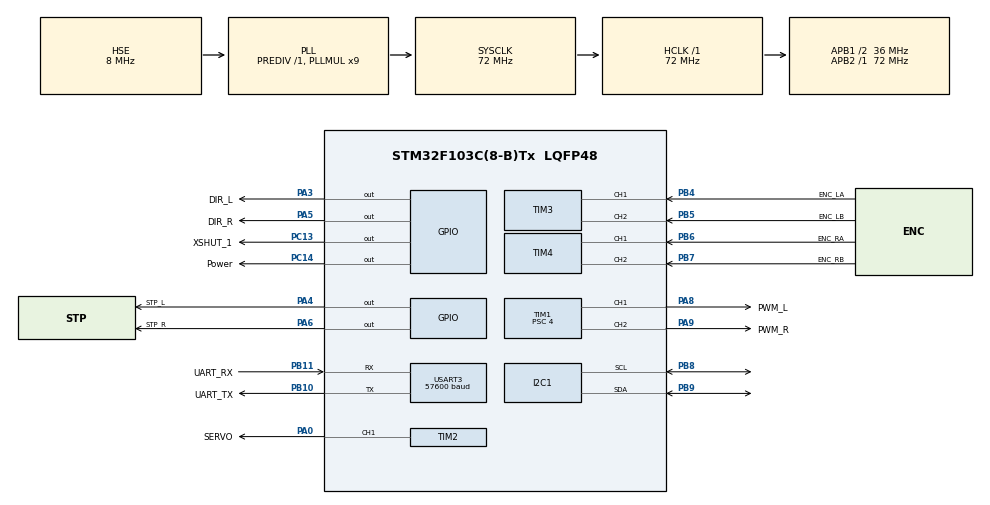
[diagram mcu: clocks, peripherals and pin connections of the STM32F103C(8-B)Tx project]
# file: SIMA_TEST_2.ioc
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Mcu.Family=STM32F1
Mcu.Name=STM32F103C(8-B)Tx
Mcu.Package=LQFP48
NVIC.PriorityGroup=NVIC_PRIORITYGROUP_4
NVIC.USART3_IRQn=true\:0\:0\:false\:false\:true\:true\:true\:true
PA0-WKUP.GPIO_Label=SERVO
PA0-WKUP.Signal=S_TIM2_CH1_ETR
PA13.Mode=Serial_Wire
PA13.Signal=SYS_JTMS-SWDIO
PA14.Mode=Serial_Wire
PA14.Signal=SYS_JTCK-SWCLK
PA3.GPIO_Label=DIR_L
PA3.Signal=GPIO_Output
PA4.GPIO_Label=STP_L
PA4.Signal=GPIO_Output
PA5.GPIO_Label=DIR_R
PA5.Signal=GPIO_Output
PA6.GPIO_Label=STP_R
PA6.Signal=GPIO_Output
PA8.GPIO_Label=PWM_L
PA8.Signal=S_TIM1_CH1
PA9.GPIO_Label=PWM_R
PA9.Signal=S_TIM1_CH2
PB10.GPIO_Label=UART_TX
PB10.Mode=Asynchronous
PB10.Signal=USART3_TX
PB11.GPIO_Label=UART_RX
PB11.Mode=Asynchronous
PB11.Signal=USART3_RX
PB4.GPIO_Label=ENC_LA
PB4.GPIO_PuPd=GPIO_PULLUP
PB4.Signal=S_TIM3_CH1
PB5.GPIO_Label=ENC_LB
PB5.GPIO_PuPd=GPIO_PULLUP
PB5.Signal=S_TIM3_CH2
PB6.GPIO_Label=ENC_RA
PB6.GPIO_PuPd=GPIO_PULLUP
PB6.Signal=S_TIM4_CH1
PB7.GPIO_Label=ENC_RB
PB7.GPIO_PuPd=GPIO_PULLUP
PB7.Signal=S_TIM4_CH2
PB8.Mode=I2C
PB8.Signal=I2C1_SCL
PB9.Mode=I2C
PB9.Signal=I2C1_SDA
PC13-TAMPER-RTC.GPIO_Label=XSHUT_1
PC13-TAMPER-RTC.Signal=GPIO_Output
PC14-OSC32_IN.GPIO_Label=Power
PC14-OSC32_IN.GPIO_PuPd=GPIO_NOPULL
PC14-OSC32_IN.Signal=GPIO_Output
PD0-OSC_IN.Mode=HSE-External-Oscillator
PD0-OSC_IN.Signal=RCC_OSC_IN
PD1-OSC_OUT.Mode=HSE-External-Oscillator
PD1-OSC_OUT.Signal=RCC_OSC_OUT
ProjectManager.HeapSize=0x200
ProjectManager.StackSize=0x400
ProjectManager.TargetToolchain=STM32CubeIDE
RCC.ADCPresc=RCC_ADCPCLK2_DIV6
RCC.AHBFreq_Value=72000000
RCC.APB1CLKDivider=RCC_HCLK_DIV2
RCC.APB1Freq_Value=36000000
RCC.APB1TimFreq_Value=72000000
RCC.APB2Freq_Value=72000000
RCC.APB2TimFreq_Value=72000000
RCC.HCLKFreq_Value=72000000
RCC.PLLMUL=RCC_PLL_MUL9
RCC.PLLSourceVirtual=RCC_PLLSOURCE_HSE
RCC.SYSCLKFreq_VALUE=72000000
RCC.SYSCLKSource=RCC_SYSCLKSOURCE_PLLCLK
RCC.USBFreq_Value=72000000
SH.S_TIM1_CH1.0=TIM1_CH1,PWM Generation1 CH1
SH.S_TIM1_CH2.0=TIM1_CH2,PWM Generation2 CH2
SH.S_TIM2_CH1_ETR.0=TIM2_CH1,PWM Generation1 CH1
SH.S_TIM3_CH1.0=TIM3_CH1,Encoder_Interface
SH.S_TIM3_CH2.0=TIM3_CH2,Encoder_Interface
SH.S_TIM4_CH1.0=TIM4_CH1,Encoder_Interface
SH.S_TIM4_CH2.0=TIM4_CH2,Encoder_Interface
TIM1.Channel-PWM\ Generation1\ CH1=TIM_CHANNEL_1
TIM1.Channel-PWM\ Generation2\ CH2=TIM_CHANNEL_2
TIM1.Period=16384-1
TIM1.Prescaler=4
TIM2.Channel-PWM\ Generation1\ CH1=TIM_CHANNEL_1
TIM2.Period=1000-1
TIM2.Prescaler=1440-1
USART3.BaudRate=57600
USART3.VirtualMode=VM_ASYNC
VP_TIM1_VS_ClockSourceINT.Mode=Internal
VP_TIM2_VS_ClockSourceINT.Mode=Internal
board=custom

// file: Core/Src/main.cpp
/* USER CODE BEGIN Header */
/**
  ******************************************************************************
  * @file           : main.c
  * @brief          : Main program body
  ******************************************************************************
  * @attention
  *
  * Copyright (c) 2024 STMicroelectronics.
  * All rights reserved.
  *
  * This software is licensed under terms that can be found in the LICENSE file
  * in the root directory of this software component.
  * If no LICENSE file comes with this software, it is provided AS-IS.
  *
  ******************************************************************************
  */
/* USER CODE END Header */
#include "main.h"

/* USER CODE BEGIN Includes */
#include "ArduinoMath.h"
#include "Terminal.h"
#include "SIMAClass.h"
#include "math.h"

/* USER CODE END Includes */

I2C_HandleTypeDef hi2c1;

TIM_HandleTypeDef htim1;
TIM_HandleTypeDef htim2;
TIM_HandleTypeDef htim3;
TIM_HandleTypeDef htim4;

UART_HandleTypeDef huart3;

/* USER CODE BEGIN PV */

SIMA_POSITION SIMA_POS;
SIMA_Class SIMA;
CMD_SET_SPEED target_speed = {0,0,false};
extern uint8_t buf[3];

uint32_t second = 0;

/* USER CODE END PV */

void SystemClock_Config(void);
static void MX_GPIO_Init(void);
static void MX_TIM1_Init(void);
static void MX_TIM3_Init(void);
static void MX_TIM4_Init(void);
static void MX_USART3_UART_Init(void);
static void MX_TIM2_Init(void);
static void MX_I2C1_Init(void);

int main(void)
{
  /* USER CODE BEGIN 1 */
	SIMA_POS.X = 0;
	SIMA_POS.Y = 0;
	SIMA_POS.ANGLE = 0;
  /* USER CODE END 1 */

  /* MCU Configuration--------------------------------------------------------*/

  /* Reset of all peripherals, Initializes the Flash interface and the Systick. */
  HAL_Init();

  /* Configure the system clock */
  SystemClock_Config();

  /* Initialize all configured peripherals */
  MX_GPIO_Init();
  MX_TIM1_Init();
  MX_TIM3_Init();
  MX_TIM4_Init();
  MX_USART3_UART_Init();
  MX_TIM2_Init();
  MX_I2C1_Init();
  /* USER CODE BEGIN 2 */

  HAL_TIM_PWM_Start(&htim1, TIM_CHANNEL_1);
  HAL_TIM_PWM_Start(&htim1, TIM_CHANNEL_2);
//  HAL_TIM_PWM_Start(&htim2, TIM_CHANNEL_1);

  HAL_TIM_Encoder_Start(&htim2, TIM_CHANNEL_1);
  HAL_TIM_Encoder_Start(&htim3, TIM_CHANNEL_ALL);
  HAL_TIM_Encoder_Start(&htim4, TIM_CHANNEL_ALL);

  SIMA.set_wheels_speed(0, 0, 0);
  HAL_GPIO_WritePin(Power_GPIO_Port, Power_Pin, GPIO_PIN_RESET);

  SIMA.sensor_init();

  HAL_UART_Receive_IT (&huart3, buf, 1);

  /* USER CODE END 2 */

  /* Infinite loop */
  /* USER CODE BEGIN WHILE */
  while (1)
  {
	  SIMA.update_position();
	  SIMA.update_distance();
	  second = HAL_GetTick() / 1000;
    /* USER CODE END WHILE */

  }
}

void SystemClock_Config(void)
{
  RCC_OscInitTypeDef RCC_OscInitStruct = {0};
  RCC_ClkInitTypeDef RCC_ClkInitStruct = {0};

  /** Initializes the RCC Oscillators according to the specified parameters
  * in the RCC_OscInitTypeDef structure.
  */
  RCC_OscInitStruct.OscillatorType = RCC_OSCILLATORTYPE_HSE;
  RCC_OscInitStruct.HSEState = RCC_HSE_ON;
  RCC_OscInitStruct.HSEPredivValue = RCC_HSE_PREDIV_DIV1;
  RCC_OscInitStruct.HSIState = RCC_HSI_ON;
  RCC_OscInitStruct.PLL.PLLState = RCC_PLL_ON;
  RCC_OscInitStruct.PLL.PLLSource = RCC_PLLSOURCE_HSE;
  RCC_OscInitStruct.PLL.PLLMUL = RCC_PLL_MUL9;
  if (HAL_RCC_OscConfig(&RCC_OscInitStruct) != HAL_OK)
  {
    Error_Handler();
  }

  /** Initializes the CPU, AHB and APB buses clocks
  */
  RCC_ClkInitStruct.ClockType = RCC_CLOCKTYPE_HCLK|RCC_CLOCKTYPE_SYSCLK
                              |RCC_CLOCKTYPE_PCLK1|RCC_CLOCKTYPE_PCLK2;
  RCC_ClkInitStruct.SYSCLKSource = RCC_SYSCLKSOURCE_PLLCLK;
  RCC_ClkInitStruct.AHBCLKDivider = RCC_SYSCLK_DIV1;
  RCC_ClkInitStruct.APB1CLKDivider = RCC_HCLK_DIV2;
  RCC_ClkInitStruct.APB2CLKDivider = RCC_HCLK_DIV1;

  if (HAL_RCC_ClockConfig(&RCC_ClkInitStruct, FLASH_LATENCY_2) != HAL_OK)
  {
    Error_Handler();
  }
}

static void MX_I2C1_Init(void)
{

  hi2c1.Instance = I2C1;
  hi2c1.Init.ClockSpeed = 100000;
  hi2c1.Init.DutyCycle = I2C_DUTYCYCLE_2;
  hi2c1.Init.OwnAddress1 = 0;
  hi2c1.Init.AddressingMode = I2C_ADDRESSINGMODE_7BIT;
  hi2c1.Init.DualAddressMode = I2C_DUALADDRESS_DISABLE;
  hi2c1.Init.OwnAddress2 = 0;
  hi2c1.Init.GeneralCallMode = I2C_GENERALCALL_DISABLE;
  hi2c1.Init.NoStretchMode = I2C_NOSTRETCH_DISABLE;
  if (HAL_I2C_Init(&hi2c1) != HAL_OK)
  {
    Error_Handler();
  }

}

static void MX_TIM1_Init(void)
{

  TIM_ClockConfigTypeDef sClockSourceConfig = {0};
  TIM_MasterConfigTypeDef sMasterConfig = {0};
  TIM_OC_InitTypeDef sConfigOC = {0};
  TIM_BreakDeadTimeConfigTypeDef sBreakDeadTimeConfig = {0};

  htim1.Instance = TIM1;
  htim1.Init.Prescaler = 4;
  htim1.Init.CounterMode = TIM_COUNTERMODE_UP;
  htim1.Init.Period = 16384-1;
  htim1.Init.ClockDivision = TIM_CLOCKDIVISION_DIV1;
  htim1.Init.RepetitionCounter = 0;
  htim1.Init.AutoReloadPreload = TIM_AUTORELOAD_PRELOAD_DISABLE;
  if (HAL_TIM_Base_Init(&htim1) != HAL_OK)
  {
    Error_Handler();
  }
  sClockSourceConfig.ClockSource = TIM_CLOCKSOURCE_INTERNAL;
  if (HAL_TIM_ConfigClockSource(&htim1, &sClockSourceConfig) != HAL_OK)
  {
    Error_Handler();
  }
  if (HAL_TIM_PWM_Init(&htim1) != HAL_OK)
  {
    Error_Handler();
  }
  sMasterConfig.MasterOutputTrigger = TIM_TRGO_RESET;
  sMasterConfig.MasterSlaveMode = TIM_MASTERSLAVEMODE_DISABLE;
  if (HAL_TIMEx_MasterConfigSynchronization(&htim1, &sMasterConfig) != HAL_OK)
  {
    Error_Handler();
  }
  sConfigOC.OCMode = TIM_OCMODE_PWM1;
  sConfigOC.Pulse = 0;
  sConfigOC.OCPolarity = TIM_OCPOLARITY_HIGH;
  sConfigOC.OCNPolarity = TIM_OCNPOLARITY_HIGH;
  sConfigOC.OCFastMode = TIM_OCFAST_DISABLE;
  sConfigOC.OCIdleState = TIM_OCIDLESTATE_RESET;
  sConfigOC.OCNIdleState = TIM_OCNIDLESTATE_RESET;
  if (HAL_TIM_PWM_ConfigChannel(&htim1, &sConfigOC, TIM_CHANNEL_1) != HAL_OK)
  {
    Error_Handler();
  }
  if (HAL_TIM_PWM_ConfigChannel(&htim1, &sConfigOC, TIM_CHANNEL_2) != HAL_OK)
  {
    Error_Handler();
  }
  sBreakDeadTimeConfig.OffStateRunMode = TIM_OSSR_DISABLE;
  sBreakDeadTimeConfig.OffStateIDLEMode = TIM_OSSI_DISABLE;
  sBreakDeadTimeConfig.LockLevel = TIM_LOCKLEVEL_OFF;
  sBreakDeadTimeConfig.DeadTime = 0;
  sBreakDeadTimeConfig.BreakState = TIM_BREAK_DISABLE;
  sBreakDeadTimeConfig.BreakPolarity = TIM_BREAKPOLARITY_HIGH;
  sBreakDeadTimeConfig.AutomaticOutput = TIM_AUTOMATICOUTPUT_DISABLE;
  if (HAL_TIMEx_ConfigBreakDeadTime(&htim1, &sBreakDeadTimeConfig) != HAL_OK)
  {
    Error_Handler();
  }
  HAL_TIM_MspPostInit(&htim1);

}

static void MX_TIM2_Init(void)
{

  TIM_ClockConfigTypeDef sClockSourceConfig = {0};
  TIM_MasterConfigTypeDef sMasterConfig = {0};
  TIM_OC_InitTypeDef sConfigOC = {0};

  htim2.Instance = TIM2;
  htim2.Init.Prescaler = 1440-1;
  htim2.Init.CounterMode = TIM_COUNTERMODE_UP;
  htim2.Init.Period = 1000-1;
  htim2.Init.ClockDivision = TIM_CLOCKDIVISION_DIV1;
  htim2.Init.AutoReloadPreload = TIM_AUTORELOAD_PRELOAD_DISABLE;
  if (HAL_TIM_Base_Init(&htim2) != HAL_OK)
  {
    Error_Handler();
  }
  sClockSourceConfig.ClockSource = TIM_CLOCKSOURCE_INTERNAL;
  if (HAL_TIM_ConfigClockSource(&htim2, &sClockSourceConfig) != HAL_OK)
  {
    Error_Handler();
  }
  if (HAL_TIM_PWM_Init(&htim2) != HAL_OK)
  {
    Error_Handler();
  }
  sMasterConfig.MasterOutputTrigger = TIM_TRGO_RESET;
  sMasterConfig.MasterSlaveMode = TIM_MASTERSLAVEMODE_DISABLE;
  if (HAL_TIMEx_MasterConfigSynchronization(&htim2, &sMasterConfig) != HAL_OK)
  {
    Error_Handler();
  }
  sConfigOC.OCMode = TIM_OCMODE_PWM1;
  sConfigOC.Pulse = 0;
  sConfigOC.OCPolarity = TIM_OCPOLARITY_HIGH;
  sConfigOC.OCFastMode = TIM_OCFAST_DISABLE;
  if (HAL_TIM_PWM_ConfigChannel(&htim2, &sConfigOC, TIM_CHANNEL_1) != HAL_OK)
  {
    Error_Handler();
  }
  HAL_TIM_MspPostInit(&htim2);

}

static void MX_TIM3_Init(void)
{

  TIM_Encoder_InitTypeDef sConfig = {0};
  TIM_MasterConfigTypeDef sMasterConfig = {0};

  htim3.Instance = TIM3;
  htim3.Init.Prescaler = 0;
  htim3.Init.CounterMode = TIM_COUNTERMODE_UP;
  htim3.Init.Period = 65535;
  htim3.Init.ClockDivision = TIM_CLOCKDIVISION_DIV1;
  htim3.Init.AutoReloadPreload = TIM_AUTORELOAD_PRELOAD_DISABLE;
  sConfig.EncoderMode = TIM_ENCODERMODE_TI1;
  sConfig.IC1Polarity = TIM_ICPOLARITY_RISING;
  sConfig.IC1Selection = TIM_ICSELECTION_DIRECTTI;
  sConfig.IC1Prescaler = TIM_ICPSC_DIV1;
  sConfig.IC1Filter = 0;
  sConfig.IC2Polarity = TIM_ICPOLARITY_RISING;
  sConfig.IC2Selection = TIM_ICSELECTION_DIRECTTI;
  sConfig.IC2Prescaler = TIM_ICPSC_DIV1;
  sConfig.IC2Filter = 0;
  if (HAL_TIM_Encoder_Init(&htim3, &sConfig) != HAL_OK)
  {
    Error_Handler();
  }
  sMasterConfig.MasterOutputTrigger = TIM_TRGO_RESET;
  sMasterConfig.MasterSlaveMode = TIM_MASTERSLAVEMODE_DISABLE;
  if (HAL_TIMEx_MasterConfigSynchronization(&htim3, &sMasterConfig) != HAL_OK)
  {
    Error_Handler();
  }

}

static void MX_TIM4_Init(void)
{

  TIM_Encoder_InitTypeDef sConfig = {0};
  TIM_MasterConfigTypeDef sMasterConfig = {0};

  htim4.Instance = TIM4;
  htim4.Init.Prescaler = 0;
  htim4.Init.CounterMode = TIM_COUNTERMODE_UP;
  htim4.Init.Period = 65535;
  htim4.Init.ClockDivision = TIM_CLOCKDIVISION_DIV1;
  htim4.Init.AutoReloadPreload = TIM_AUTORELOAD_PRELOAD_DISABLE;
  sConfig.EncoderMode = TIM_ENCODERMODE_TI1;
  sConfig.IC1Polarity = TIM_ICPOLARITY_RISING;
  sConfig.IC1Selection = TIM_ICSELECTION_DIRECTTI;
  sConfig.IC1Prescaler = TIM_ICPSC_DIV1;
  sConfig.IC1Filter = 0;
  sConfig.IC2Polarity = TIM_ICPOLARITY_RISING;
  sConfig.IC2Selection = TIM_ICSELECTION_DIRECTTI;
  sConfig.IC2Prescaler = TIM_ICPSC_DIV1;
  sConfig.IC2Filter = 0;
  if (HAL_TIM_Encoder_Init(&htim4, &sConfig) != HAL_OK)
  {
    Error_Handler();
  }
  sMasterConfig.MasterOutputTrigger = TIM_TRGO_RESET;
  sMasterConfig.MasterSlaveMode = TIM_MASTERSLAVEMODE_DISABLE;
  if (HAL_TIMEx_MasterConfigSynchronization(&htim4, &sMasterConfig) != HAL_OK)
  {
    Error_Handler();
  }

}

static void MX_USART3_UART_Init(void)
{

  huart3.Instance = USART3;
  huart3.Init.BaudRate = 57600;
  huart3.Init.WordLength = UART_WORDLENGTH_8B;
  huart3.Init.StopBits = UART_STOPBITS_1;
  huart3.Init.Parity = UART_PARITY_NONE;
  huart3.Init.Mode = UART_MODE_TX_RX;
  huart3.Init.HwFlowCtl = UART_HWCONTROL_NONE;
  huart3.Init.OverSampling = UART_OVERSAMPLING_16;
  if (HAL_UART_Init(&huart3) != HAL_OK)
  {
    Error_Handler();
  }

}

static void MX_GPIO_Init(void)
{
  GPIO_InitTypeDef GPIO_InitStruct = {0};

  /* GPIO Ports Clock Enable */
  __HAL_RCC_GPIOC_CLK_ENABLE();
  __HAL_RCC_GPIOD_CLK_ENABLE();
  __HAL_RCC_GPIOA_CLK_ENABLE();
  __HAL_RCC_GPIOB_CLK_ENABLE();

  /*Configure GPIO pin Output Level */
  HAL_GPIO_WritePin(GPIOC, XSHUT_1_Pin|Power_Pin, GPIO_PIN_RESET);

  /*Configure GPIO pin Output Level */
  HAL_GPIO_WritePin(GPIOA, DIR_L_Pin|STP_L_Pin|DIR_R_Pin|STP_R_Pin, GPIO_PIN_RESET);

  /*Configure GPIO pins : XSHUT_1_Pin Power_Pin */
  GPIO_InitStruct.Pin = XSHUT_1_Pin|Power_Pin;
  GPIO_InitStruct.Mode = GPIO_MODE_OUTPUT_PP;
  GPIO_InitStruct.Pull = GPIO_NOPULL;
  GPIO_InitStruct.Speed = GPIO_SPEED_FREQ_LOW;
  HAL_GPIO_Init(GPIOC, &GPIO_InitStruct);

  /*Configure GPIO pins : DIR_L_Pin STP_L_Pin DIR_R_Pin STP_R_Pin */
  GPIO_InitStruct.Pin = DIR_L_Pin|STP_L_Pin|DIR_R_Pin|STP_R_Pin;
  GPIO_InitStruct.Mode = GPIO_MODE_OUTPUT_PP;
  GPIO_InitStruct.Pull = GPIO_NOPULL;
  GPIO_InitStruct.Speed = GPIO_SPEED_FREQ_LOW;
  HAL_GPIO_Init(GPIOA, &GPIO_InitStruct);

}

void Error_Handler(void)
{
  __disable_irq();
  while (1)
  {
  }
}
